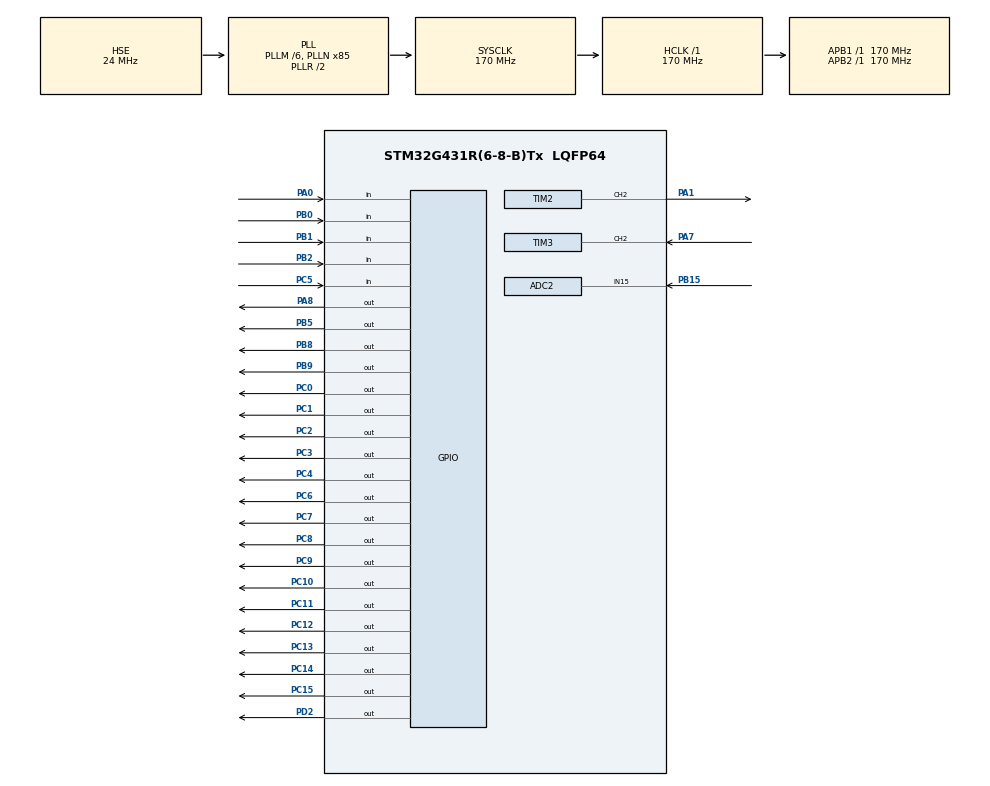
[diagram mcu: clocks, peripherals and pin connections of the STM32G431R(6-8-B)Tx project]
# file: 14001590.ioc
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ADC2.Channel-0\#ChannelRegularConversion=ADC_CHANNEL_15
ADC2.NbrOfConversionFlag=1
ADC2.OffsetNumber-0\#ChannelRegularConversion=ADC_OFFSET_NONE
ADC2.Rank-0\#ChannelRegularConversion=1
ADC2.SamplingTime-0\#ChannelRegularConversion=ADC_SAMPLETIME_2CYCLES_5
Mcu.Family=STM32G4
Mcu.Name=STM32G431R(6-8-B)Tx
Mcu.Package=LQFP64
NVIC.PriorityGroup=NVIC_PRIORITYGROUP_4
NVIC.TIM1_BRK_TIM15_IRQn=true\:0\:0\:false\:false\:true\:true\:true\:true
NVIC.TIM1_TRG_COM_TIM17_IRQn=true\:0\:0\:false\:false\:true\:true\:true\:true
NVIC.TIM1_UP_TIM16_IRQn=true\:0\:0\:false\:false\:true\:true\:true\:true
NVIC.TIM3_IRQn=true\:0\:0\:false\:false\:true\:true\:true\:true
PA0.GPIO_PuPd=GPIO_PULLUP
PA0.Signal=GPIO_Input
PA1.Signal=S_TIM2_CH2
PA13.Mode=Serial_Wire
PA13.Signal=SYS_JTMS-SWDIO
PA14.Mode=Serial_Wire
PA14.Signal=SYS_JTCK-SWCLK
PA7.Signal=S_TIM3_CH2
PA8.Signal=GPIO_Output
PB0.GPIO_PuPd=GPIO_PULLUP
PB0.Signal=GPIO_Input
PB1.GPIO_PuPd=GPIO_PULLUP
PB1.Signal=GPIO_Input
PB15.Mode=IN15-Single-Ended
PB15.Signal=ADC2_IN15
PB2.GPIO_PuPd=GPIO_PULLUP
PB2.Signal=GPIO_Input
PB5.Signal=GPIO_Output
PB8-BOOT0.Signal=GPIO_Output
PB9.Signal=GPIO_Output
PC0.Signal=GPIO_Output
PC1.Signal=GPIO_Output
PC10.Signal=GPIO_Output
PC11.Signal=GPIO_Output
PC12.Signal=GPIO_Output
PC13.Signal=GPIO_Output
PC14-OSC32_IN.Signal=GPIO_Output
PC15-OSC32_OUT.Signal=GPIO_Output
PC2.Signal=GPIO_Output
PC3.Signal=GPIO_Output
PC4.Signal=GPIO_Output
PC5.Signal=GPIO_Input
PC6.Signal=GPIO_Output
PC7.Signal=GPIO_Output
PC8.Signal=GPIO_Output
PC9.Signal=GPIO_Output
PD2.Signal=GPIO_Output
PF0-OSC_IN.Mode=HSE-External-Oscillator
PF0-OSC_IN.Signal=RCC_OSC_IN
PF1-OSC_OUT.Mode=HSE-External-Oscillator
PF1-OSC_OUT.Signal=RCC_OSC_OUT
ProjectManager.HeapSize=0x200
ProjectManager.StackSize=0x400
ProjectManager.TargetToolchain=MDK-ARM V5
RCC.ADC12Freq_Value=170000000
RCC.AHBFreq_Value=170000000
RCC.APB1Freq_Value=170000000
RCC.APB1TimFreq_Value=170000000
RCC.APB2Freq_Value=170000000
RCC.APB2TimFreq_Value=170000000
RCC.CortexFreq_Value=170000000
RCC.EXTERNAL_CLOCK_VALUE=12288000
RCC.HCLKFreq_Value=170000000
RCC.HSE_VALUE=24000000
RCC.HSI48_VALUE=48000000
RCC.HSI_VALUE=16000000
RCC.LSE_VALUE=32768
RCC.PLLM=RCC_PLLM_DIV6
RCC.PLLN=85
RCC.PLLSourceVirtual=RCC_PLLSOURCE_HSE
RCC.SYSCLKFreq_VALUE=170000000
RCC.SYSCLKSource=RCC_SYSCLKSOURCE_PLLCLK
RCC.USBFreq_Value=170000000
RCC.VCOOutputFreq_Value=340000000
SH.S_TIM2_CH2.0=TIM2_CH2,PWM Generation2 CH2
SH.S_TIM3_CH2.0=TIM3_CH2,Input_Capture2_from_TI2
TIM15.PeriodNoDither=199
TIM15.Prescaler=16999
TIM16.PeriodNoDither=9999
TIM16.Prescaler=169
TIM17.PeriodNoDither=9999
TIM17.Prescaler=16999
TIM2.Channel-PWM\ Generation2\ CH2=TIM_CHANNEL_2
TIM2.PeriodNoDither=499
TIM2.Prescaler=84
TIM3.Channel-Input_Capture2_from_TI2=TIM_CHANNEL_2
TIM3.Prescaler=169
VP_SYS_VS_DBSignals.Mode=DisableDeadBatterySignals
VP_TIM15_VS_ClockSourceINT.Mode=Internal
VP_TIM16_VS_ClockSourceINT.Mode=Enable_Timer
VP_TIM17_VS_ClockSourceINT.Mode=Enable_Timer
VP_TIM2_VS_ClockSourceINT.Mode=Internal
VP_TIM3_VS_ClockSourceINT.Mode=Internal
board=custom

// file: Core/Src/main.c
/* USER CODE BEGIN Header */
/**
  ******************************************************************************
  * @file           : main.c
  * @brief          : Main program body
  ******************************************************************************
  * @attention
  *
  * <h2><center>&copy; Copyright (c) 2023 STMicroelectronics.
  * All rights reserved.</center></h2>
  *
  * This software component is licensed by ST under BSD 3-Clause license,
  * the "License"; You may not use this file except in compliance with the
  * License. You may obtain a copy of the License at:
  *                        opensource.org/licenses/BSD-3-Clause
  *
  ******************************************************************************
  */
/* USER CODE END Header */
#include "main.h"
#include "adc.h"
#include "tim.h"
#include "gpio.h"

/* USER CODE BEGIN Includes */
#include "stdio.h"
#include "string.h"
#include "lcd.h"
/* USER CODE END Includes */

/* USER CODE BEGIN PTD */
struct keys
{
	uint8_t sta;
	uint8_t judge;
	uint8_t flag;
	uint32_t time;
	uint8_t lflag;
	uint8_t kind;
};
/* USER CODE END PTD */

/* USER CODE BEGIN PV */
char text[30];
struct keys key[4]={0,0,0,0,0,0};

uint32_t adc_value;
double adc_v;

uint32_t ccrl=0;
uint32_t frq=0;

uint8_t view=0;
uint8_t mode=0;
uint8_t kind=0;

uint8_t R=1;
uint8_t K=1;
uint8_t N=0;

float v=0;

uint32_t p=10;

uint8_t ke=0;
uint8_t kel=0;

uint32_t t=0;
uint32_t t0=0;
uint32_t t1=0;
uint32_t t2=0;
uint8_t t1f=0;
uint8_t t2f=0;

uint8_t change=0;

uint8_t h=0;

uint16_t arr=499;

float MH=0;
float ML=65525;

uint8_t arrf=0;
/* USER CODE END PV */

void SystemClock_Config(void);

/* USER CODE BEGIN 0 */
void HAL_TIM_PeriodElapsedCallback(TIM_HandleTypeDef *htim);
void HAL_TIM_IC_CaptureCallback(TIM_HandleTypeDef *htim);
/* USER CODE END 0 */

int main(void)
{

  /* MCU Configuration--------------------------------------------------------*/

  /* Reset of all peripherals, Initializes the Flash interface and the Systick. */
  HAL_Init();

  /* Configure the system clock */
  SystemClock_Config();

  /* Initialize all configured peripherals */
  MX_GPIO_Init();
  MX_TIM2_Init();
  MX_TIM3_Init();
  MX_TIM16_Init();
  MX_ADC2_Init();
  MX_TIM17_Init();
  MX_TIM15_Init();
  /* USER CODE BEGIN 2 */
	HAL_TIM_Base_Start_IT(&htim15);
	HAL_TIM_Base_Start_IT(&htim16);
	HAL_TIM_Base_Start_IT(&htim17);
	__HAL_TIM_DISABLE(&htim15);
	LCD_Init();
	LCD_Clear(Black);
  LCD_SetBackColor(Black);
  LCD_SetTextColor(White);
	HAL_TIM_PWM_Start(&htim2,TIM_CHANNEL_2);
	__HAL_TIM_SetCounter(&htim2,0);
	__HAL_TIM_SET_AUTORELOAD(&htim2,499);
	HAL_TIM_IC_Start_IT(&htim3,TIM_CHANNEL_2);

	sprintf(text,"        DATA        ");
	LCD_DisplayStringLine(Line1, (unsigned char *)text);
	sprintf(text,"     M=L            ");
	LCD_DisplayStringLine(Line3, (unsigned char *)text);
	sprintf(text,"     P=0            ");
	LCD_DisplayStringLine(Line4, (unsigned char *)text);
	sprintf(text,"     V=0            ");
	LCD_DisplayStringLine(Line5, (unsigned char *)text);

	HAL_GPIO_WritePin(GPIOD,GPIO_PIN_2,GPIO_PIN_SET);
	HAL_GPIO_WritePin(GPIOC,GPIO_PIN_8,GPIO_PIN_SET);
	HAL_GPIO_WritePin(GPIOC,GPIO_PIN_9,GPIO_PIN_SET);
	HAL_GPIO_WritePin(GPIOC,GPIO_PIN_10,GPIO_PIN_SET);
	HAL_GPIO_WritePin(GPIOC,GPIO_PIN_11,GPIO_PIN_SET);
	HAL_GPIO_WritePin(GPIOC,GPIO_PIN_12,GPIO_PIN_SET);
	HAL_GPIO_WritePin(GPIOC,GPIO_PIN_13,GPIO_PIN_SET);
	HAL_GPIO_WritePin(GPIOC,GPIO_PIN_14,GPIO_PIN_SET);
	HAL_GPIO_WritePin(GPIOC,GPIO_PIN_15,GPIO_PIN_SET);
	HAL_GPIO_WritePin(GPIOD,GPIO_PIN_2,GPIO_PIN_RESET);
  /* USER CODE END 2 */

  /* Infinite loop */
  while (1)
  {

    /* USER CODE BEGIN 3 */
		HAL_ADC_Start(&hadc2);
		adc_value=HAL_ADC_GetValue(&hadc2);
		adc_v=(double)adc_value*3.3/4096;
//		sprintf(text,"%.2fV",adc_v);
//		LCD_DisplayStringLine(Line8, (unsigned char *)text);
		if(adc_v<=1)
		{
			p=10;
		}
		else if(adc_v>1 && adc_v<3)
		{
			p=(uint32_t)(adc_v*75.0/2.0-27.5);
		}
		else
		{
			p=85;
		}

		if(view!=1)
		{
			v=(float)frq*2.0*3.14*(float)R/100.0/(float)K;
		}

		if(v>MH)
		{
			if(t1f==0)
			{
				t1=t;
				t1f=1;
			}
			if(t-t1>=2)
			{
				MH=v;
				t1f=0;
			}
		}
		if(v<ML)
		{
			if(t2f==0)
			{
				t2=t;
				t2f=1;
			}
			if(t-t2>=2)
			{
				ML=v;
				t2f=0;
			}
		}

		if(key[0].flag==1)
		{
			view++;
			LCD_Clear(Black);
			if(view==3)
			{
				view=0;
			}
			if(view==1)
			{
				kind=0;
			}
			if(view==0)
			{
				HAL_GPIO_WritePin(GPIOD,GPIO_PIN_2,GPIO_PIN_SET);
				HAL_GPIO_WritePin(GPIOC,GPIO_PIN_8,GPIO_PIN_RESET);
				HAL_GPIO_WritePin(GPIOC,GPIO_PIN_9,GPIO_PIN_SET);
				HAL_GPIO_WritePin(GPIOC,GPIO_PIN_10,GPIO_PIN_SET);
				HAL_GPIO_WritePin(GPIOC,GPIO_PIN_11,GPIO_PIN_SET);
				HAL_GPIO_WritePin(GPIOC,GPIO_PIN_12,GPIO_PIN_SET);
				HAL_GPIO_WritePin(GPIOC,GPIO_PIN_13,GPIO_PIN_SET);
				HAL_GPIO_WritePin(GPIOC,GPIO_PIN_14,GPIO_PIN_SET);
				HAL_GPIO_WritePin(GPIOC,GPIO_PIN_15,GPIO_PIN_SET);
				HAL_GPIO_WritePin(GPIOD,GPIO_PIN_2,GPIO_PIN_RESET);
				if(mode==1)
				{
					sprintf(text,"     M=H            ");
					LCD_DisplayStringLine(Line3, (unsigned char *)text);
				}
				else
				{
					sprintf(text,"     M=L            ");
					LCD_DisplayStringLine(Line3, (unsigned char *)text);
				}
			}

			key[0].flag=0;
		}

		if(key[1].flag==1)
		{
			if(t-t0>=5)
			{
				change=0;
			}
			if(view==0 && change==0)
			{
				mode=!mode;
				N++;
				h=1;
				change=1;
				t0=t;
			}
			if(view==1)
			{
				kind=!kind;
			}
			key[1].flag=0;
		}

		if(view==1)
		{
			if(key[2].flag==1)
			{
				if(kind==0)
				{
					R++;
					if(R==11)
					{
						R=1;
					}
				}
				else
				{
					K++;
					if(K==11)
					{
						K=1;
					}
				}
				key[2].flag=0;
			}

			if(key[3].flag==1)
			{
				if(kind==0)
				{
					R--;
					if(R==0)
					{
						R=10;
					}
				}
				else
				{
					K--;
					if(K==0)
					{
						K=10;
					}
				}
				key[3].flag=0;
			}
//			else if(key[3].flag==1 && ke==1)
//			{
//				key[3].flag=0;
//			}
		}
		if(view==0 && change==0)
		{
			HAL_GPIO_WritePin(GPIOD,GPIO_PIN_2,GPIO_PIN_SET);
			HAL_GPIO_WritePin(GPIOC,GPIO_PIN_8,GPIO_PIN_RESET);
			HAL_GPIO_WritePin(GPIOC,GPIO_PIN_9,GPIO_PIN_SET);
			HAL_GPIO_WritePin(GPIOC,GPIO_PIN_10,GPIO_PIN_SET);
			HAL_GPIO_WritePin(GPIOC,GPIO_PIN_11,GPIO_PIN_SET);
			HAL_GPIO_WritePin(GPIOC,GPIO_PIN_12,GPIO_PIN_SET);
			HAL_GPIO_WritePin(GPIOC,GPIO_PIN_13,GPIO_PIN_SET);
			HAL_GPIO_WritePin(GPIOC,GPIO_PIN_14,GPIO_PIN_SET);
			HAL_GPIO_WritePin(GPIOC,GPIO_PIN_15,GPIO_PIN_SET);
			HAL_GPIO_WritePin(GPIOD,GPIO_PIN_2,GPIO_PIN_RESET);
		}
		if(view==0)
		{
		  if(arr%5==0 && arr/5%2==1 && ke==0)
			{
				HAL_GPIO_WritePin(GPIOD,GPIO_PIN_2,GPIO_PIN_SET);
				HAL_GPIO_WritePin(GPIOC,GPIO_PIN_8,GPIO_PIN_RESET);
				HAL_GPIO_WritePin(GPIOC,GPIO_PIN_9,GPIO_PIN_RESET);
//				HAL_GPIO_TogglePin(GPIOC,GPIO_PIN_9);
				HAL_GPIO_WritePin(GPIOC,GPIO_PIN_10,GPIO_PIN_SET);
				HAL_GPIO_WritePin(GPIOC,GPIO_PIN_11,GPIO_PIN_SET);
				HAL_GPIO_WritePin(GPIOC,GPIO_PIN_12,GPIO_PIN_SET);
				HAL_GPIO_WritePin(GPIOC,GPIO_PIN_13,GPIO_PIN_SET);
				HAL_GPIO_WritePin(GPIOC,GPIO_PIN_14,GPIO_PIN_SET);
				HAL_GPIO_WritePin(GPIOC,GPIO_PIN_15,GPIO_PIN_SET);
				HAL_GPIO_WritePin(GPIOD,GPIO_PIN_2,GPIO_PIN_RESET);
				arrf=1;
			}
			else if(arr%5==0 && arr/5%2==0 && ke==0)
			{
				HAL_GPIO_WritePin(GPIOD,GPIO_PIN_2,GPIO_PIN_SET);
				HAL_GPIO_WritePin(GPIOC,GPIO_PIN_8,GPIO_PIN_RESET);
				HAL_GPIO_WritePin(GPIOC,GPIO_PIN_9,GPIO_PIN_SET);
//				HAL_GPIO_TogglePin(GPIOC,GPIO_PIN_9);
				HAL_GPIO_WritePin(GPIOC,GPIO_PIN_10,GPIO_PIN_SET);
				HAL_GPIO_WritePin(GPIOC,GPIO_PIN_11,GPIO_PIN_SET);
				HAL_GPIO_WritePin(GPIOC,GPIO_PIN_12,GPIO_PIN_SET);
				HAL_GPIO_WritePin(GPIOC,GPIO_PIN_13,GPIO_PIN_SET);
				HAL_GPIO_WritePin(GPIOC,GPIO_PIN_14,GPIO_PIN_SET);
				HAL_GPIO_WritePin(GPIOC,GPIO_PIN_15,GPIO_PIN_SET);
				HAL_GPIO_WritePin(GPIOD,GPIO_PIN_2,GPIO_PIN_RESET);
				arrf=1;
			}
			else if(arr%5==0 && arr/5%2==1 && ke==1)
			{
				HAL_GPIO_WritePin(GPIOD,GPIO_PIN_2,GPIO_PIN_SET);
				HAL_GPIO_WritePin(GPIOC,GPIO_PIN_8,GPIO_PIN_RESET);
				HAL_GPIO_WritePin(GPIOC,GPIO_PIN_9,GPIO_PIN_RESET);
//				HAL_GPIO_TogglePin(GPIOC,GPIO_PIN_9);
				HAL_GPIO_WritePin(GPIOC,GPIO_PIN_10,GPIO_PIN_RESET);
				HAL_GPIO_WritePin(GPIOC,GPIO_PIN_11,GPIO_PIN_SET);
				HAL_GPIO_WritePin(GPIOC,GPIO_PIN_12,GPIO_PIN_SET);
				HAL_GPIO_WritePin(GPIOC,GPIO_PIN_13,GPIO_PIN_SET);
				HAL_GPIO_WritePin(GPIOC,GPIO_PIN_14,GPIO_PIN_SET);
				HAL_GPIO_WritePin(GPIOC,GPIO_PIN_15,GPIO_PIN_SET);
				HAL_GPIO_WritePin(GPIOD,GPIO_PIN_2,GPIO_PIN_RESET);
				arrf=1;
			}
			else if(arr%5==0 && arr/5%2==0 &&ke==1)
			{
				HAL_GPIO_WritePin(GPIOD,GPIO_PIN_2,GPIO_PIN_SET);
				HAL_GPIO_WritePin(GPIOC,GPIO_PIN_8,GPIO_PIN_RESET);
				HAL_GPIO_WritePin(GPIOC,GPIO_PIN_9,GPIO_PIN_SET);
//				HAL_GPIO_TogglePin(GPIOC,GPIO_PIN_9);
				HAL_GPIO_WritePin(GPIOC,GPIO_PIN_10,GPIO_PIN_RESET);
				HAL_GPIO_WritePin(GPIOC,GPIO_PIN_11,GPIO_PIN_SET);
				HAL_GPIO_WritePin(GPIOC,GPIO_PIN_12,GPIO_PIN_SET);
				HAL_GPIO_WritePin(GPIOC,GPIO_PIN_13,GPIO_PIN_SET);
				HAL_GPIO_WritePin(GPIOC,GPIO_PIN_14,GPIO_PIN_SET);
				HAL_GPIO_WritePin(GPIOC,GPIO_PIN_15,GPIO_PIN_SET);
				HAL_GPIO_WritePin(GPIOD,GPIO_PIN_2,GPIO_PIN_RESET);
				arrf=1;
			}
		}
		if(view==0 && ke==1 && arrf==0)
		{
			HAL_GPIO_WritePin(GPIOD,GPIO_PIN_2,GPIO_PIN_SET);
			HAL_GPIO_WritePin(GPIOC,GPIO_PIN_8,GPIO_PIN_RESET);
			HAL_GPIO_WritePin(GPIOC,GPIO_PIN_9,GPIO_PIN_SET);
			HAL_GPIO_WritePin(GPIOC,GPIO_PIN_10,GPIO_PIN_RESET);
			HAL_GPIO_WritePin(GPIOC,GPIO_PIN_11,GPIO_PIN_SET);
			HAL_GPIO_WritePin(GPIOC,GPIO_PIN_12,GPIO_PIN_SET);
			HAL_GPIO_WritePin(GPIOC,GPIO_PIN_13,GPIO_PIN_SET);
			HAL_GPIO_WritePin(GPIOC,GPIO_PIN_14,GPIO_PIN_SET);
			HAL_GPIO_WritePin(GPIOC,GPIO_PIN_15,GPIO_PIN_SET);
			HAL_GPIO_WritePin(GPIOD,GPIO_PIN_2,GPIO_PIN_RESET);
		}

		if(view==0 && kel==1 && ke==0)
		{
			HAL_GPIO_WritePin(GPIOD,GPIO_PIN_2,GPIO_PIN_SET);
			HAL_GPIO_WritePin(GPIOC,GPIO_PIN_8,GPIO_PIN_RESET);
			HAL_GPIO_WritePin(GPIOC,GPIO_PIN_9,GPIO_PIN_SET);
			HAL_GPIO_WritePin(GPIOC,GPIO_PIN_10,GPIO_PIN_SET);
			HAL_GPIO_WritePin(GPIOC,GPIO_PIN_11,GPIO_PIN_SET);
			HAL_GPIO_WritePin(GPIOC,GPIO_PIN_12,GPIO_PIN_SET);
			HAL_GPIO_WritePin(GPIOC,GPIO_PIN_13,GPIO_PIN_SET);
			HAL_GPIO_WritePin(GPIOC,GPIO_PIN_14,GPIO_PIN_SET);
			HAL_GPIO_WritePin(GPIOC,GPIO_PIN_15,GPIO_PIN_SET);
			HAL_GPIO_WritePin(GPIOD,GPIO_PIN_2,GPIO_PIN_RESET);
			kel=0;
		}

		if(view==1)
		{
			HAL_GPIO_WritePin(GPIOD,GPIO_PIN_2,GPIO_PIN_SET);
			HAL_GPIO_WritePin(GPIOC,GPIO_PIN_8,GPIO_PIN_SET);
			HAL_GPIO_WritePin(GPIOC,GPIO_PIN_9,GPIO_PIN_SET);
			HAL_GPIO_WritePin(GPIOC,GPIO_PIN_10,GPIO_PIN_SET);
			HAL_GPIO_WritePin(GPIOC,GPIO_PIN_11,GPIO_PIN_SET);
			HAL_GPIO_WritePin(GPIOC,GPIO_PIN_12,GPIO_PIN_SET);
			HAL_GPIO_WritePin(GPIOC,GPIO_PIN_13,GPIO_PIN_SET);
			HAL_GPIO_WritePin(GPIOC,GPIO_PIN_14,GPIO_PIN_SET);
			HAL_GPIO_WritePin(GPIOC,GPIO_PIN_15,GPIO_PIN_SET);
			HAL_GPIO_WritePin(GPIOD,GPIO_PIN_2,GPIO_PIN_RESET);
		}

		if(view==2)
		{
			HAL_GPIO_WritePin(GPIOD,GPIO_PIN_2,GPIO_PIN_SET);
			HAL_GPIO_WritePin(GPIOC,GPIO_PIN_8,GPIO_PIN_SET);
			HAL_GPIO_WritePin(GPIOC,GPIO_PIN_9,GPIO_PIN_SET);
			HAL_GPIO_WritePin(GPIOC,GPIO_PIN_10,GPIO_PIN_SET);
			HAL_GPIO_WritePin(GPIOC,GPIO_PIN_11,GPIO_PIN_SET);
			HAL_GPIO_WritePin(GPIOC,GPIO_PIN_12,GPIO_PIN_SET);
			HAL_GPIO_WritePin(GPIOC,GPIO_PIN_13,GPIO_PIN_SET);
			HAL_GPIO_WritePin(GPIOC,GPIO_PIN_14,GPIO_PIN_SET);
			HAL_GPIO_WritePin(GPIOC,GPIO_PIN_15,GPIO_PIN_SET);
			HAL_GPIO_WritePin(GPIOD,GPIO_PIN_2,GPIO_PIN_RESET);
		}

		if((view!=0 && key[3].lflag==1) || (view==0 && ke==1 && key[3].lflag==1))
		{
			key[3].lflag=0;
		}

		if(view==2 || (view==0 && ke==0))
		{
			key[3].flag=0;
		}

		if(view==0)
		{

			if(key[3].lflag==1)
			{
				ke=1;
				key[3].lflag=0;
			}
			if(ke==1)
			{
				if(key[3].flag==1)
				{
					ke=0;
					kel=1;
					key[3].flag=0;
				}
			}
			sprintf(text,"        DATA        ");
			LCD_DisplayStringLine(Line1, (unsigned char *)text);
			if(mode==1)
			{

//				__HAL_TIM_DISABLE(&htim2);
				if(h==1)
				{
					__HAL_TIM_ENABLE(&htim15);
					arr=499;
					h=0;
				}
				if(ke==0)
				{
				__HAL_TIM_SetCompare(&htim2,TIM_CHANNEL_2,arr*p/100);
				}
//				__HAL_TIM_ENABLE(&htim2);
			}
			else
			{

//				__HAL_TIM_DISABLE(&htim2);
				if(h==1)
				{
					__HAL_TIM_ENABLE(&htim15);
					arr=249;
					h=0;
				}
				if(ke==0)
				{
					__HAL_TIM_SetCompare(&htim2,TIM_CHANNEL_2,arr*p/100);
				}
//				__HAL_TIM_ENABLE(&htim2);
			}
			sprintf(text,"     P=%d%%     ",p);
			LCD_DisplayStringLine(Line4, (unsigned char *)text);
			sprintf(text,"     V=%.1f       ",v);
			LCD_DisplayStringLine(Line5, (unsigned char *)text);
		}
		else if(view==1)
		{
			sprintf(text,"        PARA        ");
			LCD_DisplayStringLine(Line1, (unsigned char *)text);
			sprintf(text,"     R=%d            ",R);
			LCD_DisplayStringLine(Line3, (unsigned char *)text);
			sprintf(text,"     K=%d            ",K);
			LCD_DisplayStringLine(Line4, (unsigned char *)text);
		}
		else
		{
			sprintf(text,"        RECD        ");
			LCD_DisplayStringLine(Line1, (unsigned char *)text);
			sprintf(text,"     N=%d           ",N);
			LCD_DisplayStringLine(Line3, (unsigned char *)text);
			sprintf(text,"     MH=%.1f     ",MH);
			LCD_DisplayStringLine(Line4, (unsigned char *)text);
			sprintf(text,"     ML=%.1f     ",ML);
			LCD_DisplayStringLine(Line5, (unsigned char *)text);
		}

  }
  /* USER CODE END 3 */
}

void SystemClock_Config(void)
{
  RCC_OscInitTypeDef RCC_OscInitStruct = {0};
  RCC_ClkInitTypeDef RCC_ClkInitStruct = {0};
  RCC_PeriphCLKInitTypeDef PeriphClkInit = {0};

  /** Configure the main internal regulator output voltage
  */
  HAL_PWREx_ControlVoltageScaling(PWR_REGULATOR_VOLTAGE_SCALE1_BOOST);
  /** Initializes the RCC Oscillators according to the specified parameters
  * in the RCC_OscInitTypeDef structure.
  */
  RCC_OscInitStruct.OscillatorType = RCC_OSCILLATORTYPE_HSE;
  RCC_OscInitStruct.HSEState = RCC_HSE_ON;
  RCC_OscInitStruct.PLL.PLLState = RCC_PLL_ON;
  RCC_OscInitStruct.PLL.PLLSource = RCC_PLLSOURCE_HSE;
  RCC_OscInitStruct.PLL.PLLM = RCC_PLLM_DIV6;
  RCC_OscInitStruct.PLL.PLLN = 85;
  RCC_OscInitStruct.PLL.PLLP = RCC_PLLP_DIV2;
  RCC_OscInitStruct.PLL.PLLQ = RCC_PLLQ_DIV2;
  RCC_OscInitStruct.PLL.PLLR = RCC_PLLR_DIV2;
  if (HAL_RCC_OscConfig(&RCC_OscInitStruct) != HAL_OK)
  {
    Error_Handler();
  }
  /** Initializes the CPU, AHB and APB buses clocks
  */
  RCC_ClkInitStruct.ClockType = RCC_CLOCKTYPE_HCLK|RCC_CLOCKTYPE_SYSCLK
                              |RCC_CLOCKTYPE_PCLK1|RCC_CLOCKTYPE_PCLK2;
  RCC_ClkInitStruct.SYSCLKSource = RCC_SYSCLKSOURCE_PLLCLK;
  RCC_ClkInitStruct.AHBCLKDivider = RCC_SYSCLK_DIV1;
  RCC_ClkInitStruct.APB1CLKDivider = RCC_HCLK_DIV1;
  RCC_ClkInitStruct.APB2CLKDivider = RCC_HCLK_DIV1;

  if (HAL_RCC_ClockConfig(&RCC_ClkInitStruct, FLASH_LATENCY_4) != HAL_OK)
  {
    Error_Handler();
  }
  /** Initializes the peripherals clocks
  */
  PeriphClkInit.PeriphClockSelection = RCC_PERIPHCLK_ADC12;
  PeriphClkInit.Adc12ClockSelection = RCC_ADC12CLKSOURCE_SYSCLK;
  if (HAL_RCCEx_PeriphCLKConfig(&PeriphClkInit) != HAL_OK)
  {
    Error_Handler();
  }
}

/* USER CODE BEGIN 4 */
void HAL_TIM_PeriodElapsedCallback(TIM_HandleTypeDef *htim)
{
	if(htim->Instance==TIM16)
	{
		key[0].sta=HAL_GPIO_ReadPin(GPIOB,GPIO_PIN_0);
		key[1].sta=HAL_GPIO_ReadPin(GPIOB,GPIO_PIN_1);
		key[2].sta=HAL_GPIO_ReadPin(GPIOB,GPIO_PIN_2);
		key[3].sta=HAL_GPIO_ReadPin(GPIOA,GPIO_PIN_0);
		for(int i=0;i<4;i++)
		{
			switch(key[i].judge)
			{
				case 0:
				{
					if(key[i].sta==0)
					{
						key[i].judge=1;
					}
				}
				break;
				case 1:
				{
					if(key[i].sta==0)
					{
							key[i].judge=2;
					}
					else
					{
						key[i].judge=0;
					}
				}
				break;
				case 2:
				{
					key[i].time++;
					if(key[i].time<200)
					{
						key[i].kind=1;
					}

					else if(key[i].time>=200)
					{
						key[i].kind=2;
					}
					if(key[i].sta==1)
					{
						if(key[i].kind==1)
						{
							key[i].flag=1;
						}
						else if(key[i].kind==2)
						{
							key[i].lflag=1;
						}
						key[i].judge=0;
						key[i].kind=0;
						key[i].time=0;
					}
				}
				break;
			}
		}
	}

	if(htim->Instance==TIM17)
	{
		t++;
		if(t==4294967295)
		{
			t=0;
		}
	}

	if(htim->Instance==TIM15)
	{
		if(mode==0)
		{
			arr++;
			__HAL_TIM_SetCounter(&htim2,0);
			__HAL_TIM_SET_AUTORELOAD(&htim2,arr);
			if(arr==499)
			{
				__HAL_TIM_DISABLE(&htim15);
				HAL_GPIO_WritePin(GPIOD,GPIO_PIN_2,GPIO_PIN_SET);
				HAL_GPIO_WritePin(GPIOC,GPIO_PIN_8,GPIO_PIN_RESET);
				HAL_GPIO_WritePin(GPIOC,GPIO_PIN_9,GPIO_PIN_SET);
				HAL_GPIO_WritePin(GPIOC,GPIO_PIN_10,GPIO_PIN_SET);
				HAL_GPIO_WritePin(GPIOC,GPIO_PIN_11,GPIO_PIN_SET);
				HAL_GPIO_WritePin(GPIOC,GPIO_PIN_12,GPIO_PIN_SET);
				HAL_GPIO_WritePin(GPIOC,GPIO_PIN_13,GPIO_PIN_SET);
				HAL_GPIO_WritePin(GPIOC,GPIO_PIN_14,GPIO_PIN_SET);
				HAL_GPIO_WritePin(GPIOC,GPIO_PIN_15,GPIO_PIN_SET);
				HAL_GPIO_WritePin(GPIOD,GPIO_PIN_2,GPIO_PIN_RESET);
				sprintf(text,"     M=L            ");
				LCD_DisplayStringLine(Line3, (unsigned char *)text);
				arrf=0;
			}

		}
		else if(mode==1)
		{
			arr--;
			__HAL_TIM_SetCounter(&htim2,0);
			__HAL_TIM_SET_AUTORELOAD(&htim2,arr);
			if(arr==249)
			{
				__HAL_TIM_DISABLE(&htim15);
				HAL_GPIO_WritePin(GPIOD,GPIO_PIN_2,GPIO_PIN_SET);
				HAL_GPIO_WritePin(GPIOC,GPIO_PIN_8,GPIO_PIN_RESET);
				HAL_GPIO_WritePin(GPIOC,GPIO_PIN_9,GPIO_PIN_SET);
				HAL_GPIO_WritePin(GPIOC,GPIO_PIN_10,GPIO_PIN_SET);
				HAL_GPIO_WritePin(GPIOC,GPIO_PIN_11,GPIO_PIN_SET);
				HAL_GPIO_WritePin(GPIOC,GPIO_PIN_12,GPIO_PIN_SET);
				HAL_GPIO_WritePin(GPIOC,GPIO_PIN_13,GPIO_PIN_SET);
				HAL_GPIO_WritePin(GPIOC,GPIO_PIN_14,GPIO_PIN_SET);
				HAL_GPIO_WritePin(GPIOC,GPIO_PIN_15,GPIO_PIN_SET);
				HAL_GPIO_WritePin(GPIOD,GPIO_PIN_2,GPIO_PIN_RESET);
				arrf=0;
				sprintf(text,"     M=H            ");
				LCD_DisplayStringLine(Line3, (unsigned char *)text);
			}

		}
	}
}

void HAL_TIM_IC_CaptureCallback(TIM_HandleTypeDef *htim)
{
	if(htim->Instance==TIM3)
	{
		ccrl=HAL_TIM_ReadCapturedValue(&htim3,TIM_CHANNEL_2);
		__HAL_TIM_SetCounter(&htim3,0);
		frq=(170000000/170)/ccrl;
		HAL_TIM_IC_Start_IT(&htim3,TIM_CHANNEL_2);
	}
}
/* USER CODE END 4 */

void Error_Handler(void)
{
  __disable_irq();
  while (1)
  {
  }
}

/************************ (C) COPYRIGHT STMicroelectronics *****END OF FILE****/
